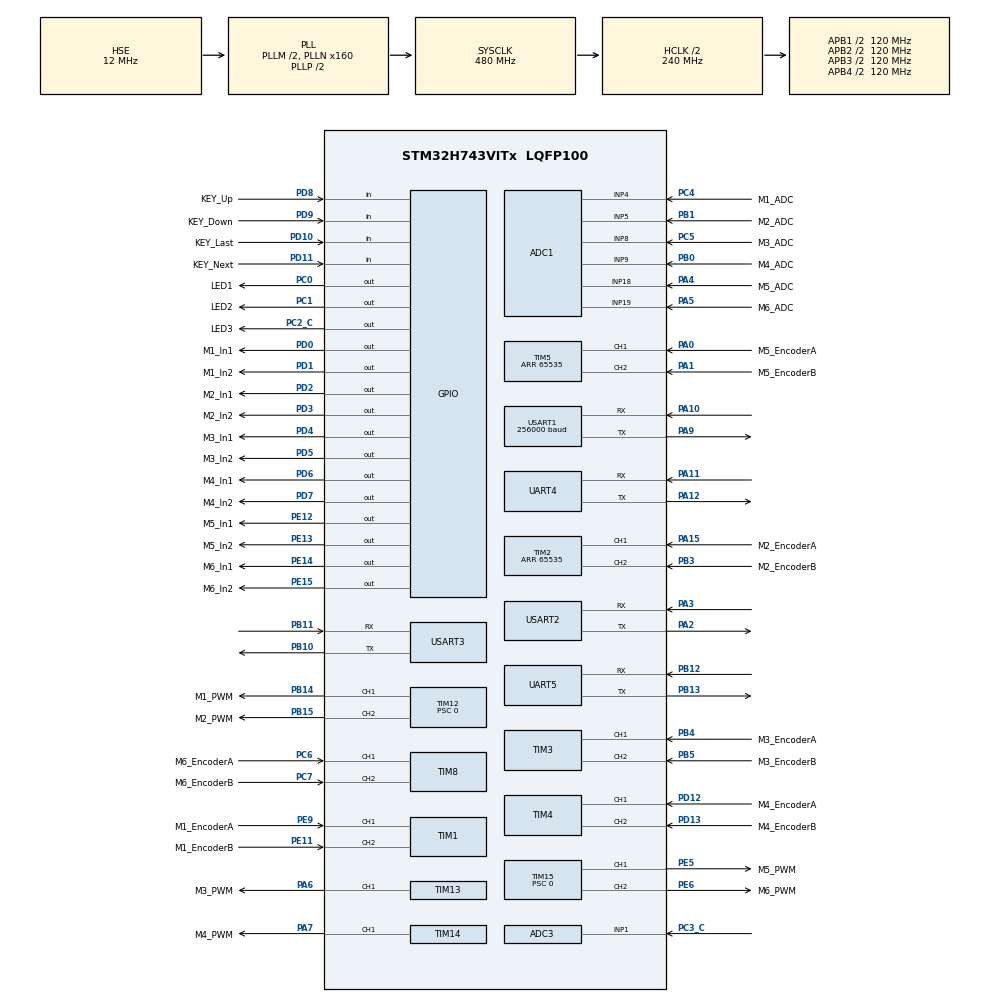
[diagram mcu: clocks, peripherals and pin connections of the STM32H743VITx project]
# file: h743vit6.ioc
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ADC1.Channel-0\#ChannelRegularConversion=ADC_CHANNEL_4
ADC1.Channel-1\#ChannelRegularConversion=ADC_CHANNEL_5
ADC1.Channel-2\#ChannelRegularConversion=ADC_CHANNEL_8
ADC1.Channel-3\#ChannelRegularConversion=ADC_CHANNEL_9
ADC1.Channel-4\#ChannelRegularConversion=ADC_CHANNEL_18
ADC1.Channel-5\#ChannelRegularConversion=ADC_CHANNEL_19
ADC1.ClockPrescaler=ADC_CLOCK_ASYNC_DIV8
ADC1.ContinuousConvMode=ENABLE
ADC1.ConversionDataManagement=ADC_CONVERSIONDATA_DMA_CIRCULAR
ADC1.NbrOfConversion=6
ADC1.NbrOfConversionFlag=1
ADC1.OffsetNumber-0\#ChannelRegularConversion=ADC_OFFSET_NONE
ADC1.OffsetNumber-1\#ChannelRegularConversion=ADC_OFFSET_NONE
ADC1.OffsetNumber-2\#ChannelRegularConversion=ADC_OFFSET_NONE
ADC1.OffsetNumber-3\#ChannelRegularConversion=ADC_OFFSET_NONE
ADC1.OffsetNumber-4\#ChannelRegularConversion=ADC_OFFSET_NONE
ADC1.OffsetNumber-5\#ChannelRegularConversion=ADC_OFFSET_NONE
ADC1.OffsetSignedSaturation-0\#ChannelRegularConversion=DISABLE
ADC1.OffsetSignedSaturation-1\#ChannelRegularConversion=DISABLE
ADC1.OffsetSignedSaturation-2\#ChannelRegularConversion=DISABLE
ADC1.OffsetSignedSaturation-3\#ChannelRegularConversion=DISABLE
ADC1.OffsetSignedSaturation-4\#ChannelRegularConversion=DISABLE
ADC1.OffsetSignedSaturation-5\#ChannelRegularConversion=DISABLE
ADC1.Overrun=ADC_OVR_DATA_OVERWRITTEN
ADC1.OversamplingMode=ENABLE
ADC1.OversamplingStopReset=ADC_REGOVERSAMPLING_RESUMED_MODE
ADC1.Rank-0\#ChannelRegularConversion=1
ADC1.Rank-1\#ChannelRegularConversion=2
ADC1.Rank-2\#ChannelRegularConversion=3
ADC1.Rank-3\#ChannelRegularConversion=4
ADC1.Rank-4\#ChannelRegularConversion=5
ADC1.Rank-5\#ChannelRegularConversion=6
ADC1.Ratio=1024
ADC1.RightBitShift=ADC_RIGHTBITSHIFT_10
ADC1.SamplingTime-0\#ChannelRegularConversion=ADC_SAMPLETIME_16CYCLES_5
ADC1.SamplingTime-1\#ChannelRegularConversion=ADC_SAMPLETIME_16CYCLES_5
ADC1.SamplingTime-2\#ChannelRegularConversion=ADC_SAMPLETIME_16CYCLES_5
ADC1.SamplingTime-3\#ChannelRegularConversion=ADC_SAMPLETIME_16CYCLES_5
ADC1.SamplingTime-4\#ChannelRegularConversion=ADC_SAMPLETIME_16CYCLES_5
ADC1.SamplingTime-5\#ChannelRegularConversion=ADC_SAMPLETIME_16CYCLES_5
ADC1.master=1
ADC3.Channel-0\#ChannelRegularConversion=ADC_CHANNEL_TEMPSENSOR
ADC3.Channel-1\#ChannelRegularConversion=ADC_CHANNEL_1
ADC3.ClockPrescaler=ADC_CLOCK_ASYNC_DIV8
ADC3.ContinuousConvMode=ENABLE
ADC3.ConversionDataManagement=ADC_CONVERSIONDATA_DMA_CIRCULAR
ADC3.LeftBitShift=ADC_LEFTBITSHIFT_NONE
ADC3.NbrOfConversion=2
ADC3.NbrOfConversionFlag=1
ADC3.OffsetNumber-0\#ChannelRegularConversion=ADC_OFFSET_NONE
ADC3.OffsetNumber-1\#ChannelRegularConversion=ADC_OFFSET_NONE
ADC3.OffsetSignedSaturation-0\#ChannelRegularConversion=DISABLE
ADC3.OffsetSignedSaturation-1\#ChannelRegularConversion=DISABLE
ADC3.Overrun=ADC_OVR_DATA_OVERWRITTEN
ADC3.OversamplingMode=ENABLE
ADC3.Rank-0\#ChannelRegularConversion=1
ADC3.Rank-1\#ChannelRegularConversion=2
ADC3.Ratio=1024
ADC3.RightBitShift=ADC_RIGHTBITSHIFT_10
ADC3.SamplingTime-0\#ChannelRegularConversion=ADC_SAMPLETIME_810CYCLES_5
ADC3.SamplingTime-1\#ChannelRegularConversion=ADC_SAMPLETIME_810CYCLES_5
CORTEX_M7.AccessPermission-Cortex_Memory_Protection_Unit_Region0_Settings=MPU_REGION_FULL_ACCESS
CORTEX_M7.BaseAddress-Cortex_Memory_Protection_Unit_Region0_Settings=0x38000000
CORTEX_M7.CPU_DCache=Enabled
CORTEX_M7.CPU_ICache=Enabled
CORTEX_M7.Enable-Cortex_Memory_Protection_Unit_Region0_Settings=MPU_REGION_ENABLE
CORTEX_M7.IsCacheable-Cortex_Memory_Protection_Unit_Region0_Settings=MPU_ACCESS_CACHEABLE
CORTEX_M7.MPU_Control=MPU_PRIVILEGED_DEFAULT
CORTEX_M7.Size-Cortex_Memory_Protection_Unit_Region0_Settings=MPU_REGION_SIZE_64KB
Dma.ADC1.0.Direction=DMA_PERIPH_TO_MEMORY
Dma.ADC1.0.EventEnable=DISABLE
Dma.ADC1.0.FIFOMode=DMA_FIFOMODE_DISABLE
Dma.ADC1.0.Instance=DMA1_Stream1
Dma.ADC1.0.MemDataAlignment=DMA_MDATAALIGN_WORD
Dma.ADC1.0.MemInc=DMA_MINC_ENABLE
Dma.ADC1.0.Mode=DMA_CIRCULAR
Dma.ADC1.0.PeriphDataAlignment=DMA_PDATAALIGN_WORD
Dma.ADC1.0.PeriphInc=DMA_PINC_DISABLE
Dma.ADC1.0.Polarity=HAL_DMAMUX_REQ_GEN_RISING
Dma.ADC1.0.Priority=DMA_PRIORITY_MEDIUM
Dma.ADC1.0.RequestNumber=1
Dma.ADC1.0.SignalID=NONE
Dma.ADC1.0.SyncEnable=DISABLE
Dma.ADC1.0.SyncPolarity=HAL_DMAMUX_SYNC_NO_EVENT
Dma.ADC1.0.SyncRequestNumber=1
Dma.ADC1.0.SyncSignalID=NONE
Dma.ADC3.1.Direction=DMA_PERIPH_TO_MEMORY
Dma.ADC3.1.EventEnable=DISABLE
Dma.ADC3.1.FIFOMode=DMA_FIFOMODE_DISABLE
Dma.ADC3.1.Instance=DMA1_Stream0
Dma.ADC3.1.MemDataAlignment=DMA_MDATAALIGN_WORD
Dma.ADC3.1.MemInc=DMA_MINC_ENABLE
Dma.ADC3.1.Mode=DMA_CIRCULAR
Dma.ADC3.1.PeriphDataAlignment=DMA_PDATAALIGN_WORD
Dma.ADC3.1.PeriphInc=DMA_PINC_DISABLE
Dma.ADC3.1.Polarity=HAL_DMAMUX_REQ_GEN_RISING
Dma.ADC3.1.Priority=DMA_PRIORITY_MEDIUM
Dma.ADC3.1.RequestNumber=1
Dma.ADC3.1.SignalID=NONE
Dma.ADC3.1.SyncEnable=DISABLE
Dma.ADC3.1.SyncPolarity=HAL_DMAMUX_SYNC_NO_EVENT
Dma.ADC3.1.SyncRequestNumber=1
Dma.ADC3.1.SyncSignalID=NONE
Dma.MEMTOMEM.4.Direction=DMA_MEMORY_TO_MEMORY
Dma.MEMTOMEM.4.EventEnable=DISABLE
Dma.MEMTOMEM.4.FIFOMode=DMA_FIFOMODE_ENABLE
Dma.MEMTOMEM.4.FIFOThreshold=DMA_FIFO_THRESHOLD_FULL
Dma.MEMTOMEM.4.Instance=DMA1_Stream4
Dma.MEMTOMEM.4.MemBurst=DMA_MBURST_SINGLE
Dma.MEMTOMEM.4.MemDataAlignment=DMA_MDATAALIGN_BYTE
Dma.MEMTOMEM.4.MemInc=DMA_MINC_ENABLE
Dma.MEMTOMEM.4.Mode=DMA_NORMAL
Dma.MEMTOMEM.4.PeriphBurst=DMA_PBURST_SINGLE
Dma.MEMTOMEM.4.PeriphDataAlignment=DMA_PDATAALIGN_BYTE
Dma.MEMTOMEM.4.PeriphInc=DMA_PINC_ENABLE
Dma.MEMTOMEM.4.Polarity=HAL_DMAMUX_REQ_GEN_RISING
Dma.MEMTOMEM.4.Priority=DMA_PRIORITY_LOW
Dma.MEMTOMEM.4.RequestNumber=1
Dma.MEMTOMEM.4.SignalID=NONE
Dma.MEMTOMEM.4.SyncEnable=DISABLE
Dma.MEMTOMEM.4.SyncPolarity=HAL_DMAMUX_SYNC_NO_EVENT
Dma.MEMTOMEM.4.SyncRequestNumber=1
Dma.MEMTOMEM.4.SyncSignalID=NONE
Dma.Request0=ADC1
Dma.Request1=ADC3
Dma.Request2=USART1_TX
Dma.Request3=UART4_RX
Dma.Request4=MEMTOMEM
Dma.UART4_RX.3.Direction=DMA_PERIPH_TO_MEMORY
Dma.UART4_RX.3.EventEnable=DISABLE
Dma.UART4_RX.3.FIFOMode=DMA_FIFOMODE_DISABLE
Dma.UART4_RX.3.Instance=DMA1_Stream3
Dma.UART4_RX.3.MemDataAlignment=DMA_MDATAALIGN_BYTE
Dma.UART4_RX.3.MemInc=DMA_MINC_ENABLE
Dma.UART4_RX.3.Mode=DMA_NORMAL
Dma.UART4_RX.3.PeriphDataAlignment=DMA_PDATAALIGN_BYTE
Dma.UART4_RX.3.PeriphInc=DMA_PINC_DISABLE
Dma.UART4_RX.3.Polarity=HAL_DMAMUX_REQ_GEN_RISING
Dma.UART4_RX.3.Priority=DMA_PRIORITY_LOW
Dma.UART4_RX.3.RequestNumber=1
Dma.UART4_RX.3.SignalID=NONE
Dma.UART4_RX.3.SyncEnable=DISABLE
Dma.UART4_RX.3.SyncPolarity=HAL_DMAMUX_SYNC_NO_EVENT
Dma.UART4_RX.3.SyncRequestNumber=1
Dma.UART4_RX.3.SyncSignalID=NONE
Dma.USART1_TX.2.Direction=DMA_MEMORY_TO_PERIPH
Dma.USART1_TX.2.EventEnable=DISABLE
Dma.USART1_TX.2.FIFOMode=DMA_FIFOMODE_DISABLE
Dma.USART1_TX.2.Instance=DMA1_Stream2
Dma.USART1_TX.2.MemDataAlignment=DMA_MDATAALIGN_BYTE
Dma.USART1_TX.2.MemInc=DMA_MINC_ENABLE
Dma.USART1_TX.2.Mode=DMA_NORMAL
Dma.USART1_TX.2.PeriphDataAlignment=DMA_PDATAALIGN_BYTE
Dma.USART1_TX.2.PeriphInc=DMA_PINC_DISABLE
Dma.USART1_TX.2.Polarity=HAL_DMAMUX_REQ_GEN_RISING
Dma.USART1_TX.2.Priority=DMA_PRIORITY_HIGH
Dma.USART1_TX.2.RequestNumber=1
Dma.USART1_TX.2.SignalID=NONE
Dma.USART1_TX.2.SyncEnable=DISABLE
Dma.USART1_TX.2.SyncPolarity=HAL_DMAMUX_SYNC_NO_EVENT
Dma.USART1_TX.2.SyncRequestNumber=1
Dma.USART1_TX.2.SyncSignalID=NONE
Mcu.Family=STM32H7
Mcu.Name=STM32H743VITx
Mcu.Package=LQFP100
NVIC.DMA1_Stream0_IRQn=true\:0\:0\:false\:false\:true\:false\:true
NVIC.DMA1_Stream1_IRQn=true\:0\:0\:false\:false\:true\:false\:true
NVIC.DMA1_Stream2_IRQn=true\:0\:0\:false\:false\:true\:false\:true
NVIC.DMA1_Stream3_IRQn=true\:0\:0\:false\:false\:true\:false\:true
NVIC.PriorityGroup=NVIC_PRIORITYGROUP_4
NVIC.TIM6_DAC_IRQn=true\:1\:0\:true\:false\:true\:true\:true
NVIC.USART1_IRQn=true\:2\:0\:true\:false\:true\:true\:true
NVIC.USART2_IRQn=true\:2\:0\:true\:false\:true\:true\:true
NVIC.USART3_IRQn=true\:2\:0\:true\:false\:true\:true\:true
PA0.GPIO_Label=M5_EncoderA
PA0.Signal=S_TIM5_CH1
PA1.GPIO_Label=M5_EncoderB
PA1.Signal=S_TIM5_CH2
PA10.Mode=Asynchronous
PA10.Signal=USART1_RX
PA11.Mode=Asynchronous
PA11.Signal=UART4_RX
PA12.Mode=Asynchronous
PA12.Signal=UART4_TX
PA15\ (JTDI).GPIO_Label=M2_EncoderA
PA15\ (JTDI).Signal=S_TIM2_CH1_ETR
PA2.Mode=Asynchronous
PA2.PinAttribute=Free
PA2.Signal=USART2_TX
PA3.Mode=Asynchronous
PA3.Signal=USART2_RX
PA4.GPIO_Label=M5_ADC
PA4.Signal=ADCx_INP18
PA5.GPIO_Label=M6_ADC
PA5.Signal=ADCx_INP19
PA6.GPIO_Label=M3_PWM
PA6.Signal=S_TIM13_CH1
PA7.GPIO_Label=M4_PWM
PA7.Signal=S_TIM14_CH1
PA9.Mode=Asynchronous
PA9.Signal=USART1_TX
PB0.GPIO_Label=M4_ADC
PB0.Signal=ADCx_INP9
PB1.GPIO_Label=M2_ADC
PB1.Signal=ADCx_INP5
PB10.Mode=Asynchronous
PB10.Signal=USART3_TX
PB11.Mode=Asynchronous
PB11.Signal=USART3_RX
PB12.Mode=Asynchronous
PB12.Signal=UART5_RX
PB13.Mode=Asynchronous
PB13.Signal=UART5_TX
PB14.GPIO_Label=M1_PWM
PB14.Signal=S_TIM12_CH1
PB15.GPIO_Label=M2_PWM
PB15.Signal=S_TIM12_CH2
PB3\ (JTDO/TRACESWO).GPIO_Label=M2_EncoderB
PB3\ (JTDO/TRACESWO).Signal=S_TIM2_CH2
PB4\ (NJTRST).GPIO_Label=M3_EncoderA
PB4\ (NJTRST).Signal=S_TIM3_CH1
PB5.GPIO_Label=M3_EncoderB
PB5.Signal=S_TIM3_CH2
PC0.GPIO_Label=LED1
PC0.Signal=GPIO_Output
PC1.GPIO_Label=LED2
PC1.Signal=GPIO_Output
PC14-OSC32_IN\ (OSC32_IN).Mode=LSE-External-Oscillator
PC14-OSC32_IN\ (OSC32_IN).Signal=RCC_OSC32_IN
PC15-OSC32_OUT\ (OSC32_OUT).Mode=LSE-External-Oscillator
PC15-OSC32_OUT\ (OSC32_OUT).Signal=RCC_OSC32_OUT
PC2_C.GPIO_Label=LED3
PC2_C.Signal=GPIO_Output
PC3_C.Mode=IN1-Single-Ended
PC3_C.Signal=ADC3_INP1
PC4.GPIO_Label=M1_ADC
PC4.Signal=ADCx_INP4
PC5.GPIO_Label=M3_ADC
PC5.Signal=ADCx_INP8
PC6.GPIO_Label=M6_EncoderA
PC6.Signal=S_TIM8_CH1
PC7.GPIO_Label=M6_EncoderB
PC7.Signal=S_TIM8_CH2
PD0.GPIO_Label=M1_In1
PD0.Signal=GPIO_Output
PD1.GPIO_Label=M1_In2
PD1.Signal=GPIO_Output
PD10.GPIO_Label=KEY_Last
PD10.GPIO_PuPd=GPIO_PULLDOWN
PD10.Signal=GPIO_Input
PD11.GPIO_Label=KEY_Next
PD11.GPIO_PuPd=GPIO_PULLDOWN
PD11.Signal=GPIO_Input
PD12.GPIO_Label=M4_EncoderA
PD12.Signal=S_TIM4_CH1
PD13.GPIO_Label=M4_EncoderB
PD13.Signal=S_TIM4_CH2
PD2.GPIO_Label=M2_In1
PD2.Signal=GPIO_Output
PD3.GPIO_Label=M2_In2
PD3.Signal=GPIO_Output
PD4.GPIO_Label=M3_In1
PD4.Signal=GPIO_Output
PD5.GPIO_Label=M3_In2
PD5.Signal=GPIO_Output
PD6.GPIO_Label=M4_In1
PD6.Signal=GPIO_Output
PD7.GPIO_Label=M4_In2
PD7.Signal=GPIO_Output
PD8.GPIO_Label=KEY_Up
PD8.GPIO_PuPd=GPIO_PULLDOWN
PD8.Signal=GPIO_Input
PD9.GPIO_Label=KEY_Down
PD9.GPIO_PuPd=GPIO_PULLDOWN
PD9.Signal=GPIO_Input
PE11.GPIO_Label=M1_EncoderB
PE11.PinAttribute=Free
PE11.Signal=S_TIM1_CH2
PE12.GPIO_Label=M5_In1
PE12.PinAttribute=Free
PE12.Signal=GPIO_Output
PE13.GPIO_Label=M5_In2
PE13.PinAttribute=Free
PE13.Signal=GPIO_Output
PE14.GPIO_Label=M6_In1
PE14.Signal=GPIO_Output
PE15.GPIO_Label=M6_In2
PE15.Signal=GPIO_Output
PE5.GPIO_Label=M5_PWM
PE5.Signal=S_TIM15_CH1
PE6.GPIO_Label=M6_PWM
PE6.Signal=S_TIM15_CH2
PE9.GPIO_Label=M1_EncoderA
PE9.PinAttribute=Free
PE9.Signal=S_TIM1_CH1
PH0-OSC_IN\ (PH0).Mode=HSE-External-Oscillator
PH0-OSC_IN\ (PH0).Signal=RCC_OSC_IN
PH1-OSC_OUT\ (PH1).Mode=HSE-External-Oscillator
PH1-OSC_OUT\ (PH1).Signal=RCC_OSC_OUT
ProjectManager.HeapSize=0x200
ProjectManager.StackSize=0x400
ProjectManager.TargetToolchain=MDK-ARM V5.32
RCC.ADCFreq_Value=72000000
RCC.APB1Freq_Value=120000000
RCC.APB2Freq_Value=120000000
RCC.APB3Freq_Value=120000000
RCC.APB4Freq_Value=120000000
RCC.CortexFreq_Value=480000000
RCC.D1PPRE=RCC_APB3_DIV2
RCC.D2PPRE1=RCC_APB1_DIV2
RCC.D2PPRE2=RCC_APB2_DIV2
RCC.D3PPRE=RCC_APB4_DIV2
RCC.DIVM1=2
RCC.DIVM2=1
RCC.DIVN1=160
RCC.DIVN2=24
RCC.DIVP2=4
RCC.EnbaleCSS=false
RCC.HCLKFreq_Value=240000000
RCC.HPRE=RCC_HCLK_DIV2
RCC.HSE_VALUE=12000000
RCC.PLL1_VCI_Range-AdvancedSettings=RCC_PLL1VCIRANGE_0
RCC.PLL1_VCO_SEL-AdvancedSettings=RCC_PLL1VCOMEDIUM
RCC.PLL2FRACN=0
RCC.PLL2_VCI_Range-AdvancedSettings=RCC_PLL2VCIRANGE_0
RCC.PLL2_VCO_SEL-AdvancedSettings=RCC_PLL2VCOMEDIUM
RCC.PLL3FRACN=0
RCC.PLL3_VCI_Range-AdvancedSettings=RCC_PLL3VCIRANGE_0
RCC.PLL3_VCO_SEL-AdvancedSettings=RCC_PLL3VCOMEDIUM
RCC.PLLSourceVirtual=RCC_PLLSOURCE_HSE
RCC.SYSCLKFreq_VALUE=480000000
RCC.SYSCLKSource=RCC_SYSCLKSOURCE_PLLCLK
RCC.USBFreq_Value=480000000
SH.ADCx_INP18.0=ADC1_INP18,IN18-Single-Ended
SH.ADCx_INP19.0=ADC1_INP19,IN19-Single-Ended
SH.ADCx_INP4.0=ADC1_INP4,IN4-Single-Ended
SH.ADCx_INP5.0=ADC1_INP5,IN5-Single-Ended
SH.ADCx_INP8.0=ADC1_INP8,IN8-Single-Ended
SH.ADCx_INP9.0=ADC1_INP9,IN9-Single-Ended
SH.S_TIM12_CH1.0=TIM12_CH1,PWM Generation1 CH1
SH.S_TIM12_CH2.0=TIM12_CH2,PWM Generation2 CH2
SH.S_TIM13_CH1.0=TIM13_CH1,PWM Generation1 CH1
SH.S_TIM14_CH1.0=TIM14_CH1,PWM Generation1 CH1
SH.S_TIM15_CH1.0=TIM15_CH1,PWM Generation1 CH1
SH.S_TIM15_CH2.0=TIM15_CH2,PWM Generation2 CH2
SH.S_TIM1_CH1.0=TIM1_CH1,Encoder_Interface
SH.S_TIM1_CH2.0=TIM1_CH2,Encoder_Interface
SH.S_TIM2_CH1_ETR.0=TIM2_CH1,Encoder_Interface
SH.S_TIM2_CH2.0=TIM2_CH2,Encoder_Interface
SH.S_TIM3_CH1.0=TIM3_CH1,Encoder_Interface
SH.S_TIM3_CH2.0=TIM3_CH2,Encoder_Interface
SH.S_TIM4_CH1.0=TIM4_CH1,Encoder_Interface
SH.S_TIM4_CH2.0=TIM4_CH2,Encoder_Interface
SH.S_TIM5_CH1.0=TIM5_CH1,Encoder_Interface
SH.S_TIM5_CH2.0=TIM5_CH2,Encoder_Interface
SH.S_TIM8_CH1.0=TIM8_CH1,Encoder_Interface
SH.S_TIM8_CH2.0=TIM8_CH2,Encoder_Interface
TIM1.AutoReloadPreload=TIM_AUTORELOAD_PRELOAD_ENABLE
TIM1.EncoderMode=TIM_ENCODERMODE_TI12
TIM1.IC1Filter=5
TIM1.IC2Filter=5
TIM12.AutoReloadPreload=TIM_AUTORELOAD_PRELOAD_ENABLE
TIM12.Channel-PWM\ Generation1\ CH1=TIM_CHANNEL_1
TIM12.Channel-PWM\ Generation2\ CH2=TIM_CHANNEL_2
TIM12.Period=12000
TIM12.Prescaler=0
TIM13.AutoReloadPreload=TIM_AUTORELOAD_PRELOAD_ENABLE
TIM13.Channel=TIM_CHANNEL_1
TIM13.Period=12000
TIM13.Prescaler=0
TIM14.AutoReloadPreload=TIM_AUTORELOAD_PRELOAD_ENABLE
TIM14.Channel=TIM_CHANNEL_1
TIM14.Period=12000
TIM14.Prescaler=0
TIM15.AutoReloadPreload=TIM_AUTORELOAD_PRELOAD_ENABLE
TIM15.Channel-PWM\ Generation1\ CH1=TIM_CHANNEL_1
TIM15.Channel-PWM\ Generation2\ CH2=TIM_CHANNEL_2
TIM15.OCIdleState_1=TIM_OCIDLESTATE_SET
TIM15.OCIdleState_2=TIM_OCIDLESTATE_SET
TIM15.Period=12000
TIM15.Prescaler=0
TIM2.AutoReloadPreload=TIM_AUTORELOAD_PRELOAD_ENABLE
TIM2.EncoderMode=TIM_ENCODERMODE_TI12
TIM2.IC1Filter=10
TIM2.IC2Filter=10
TIM2.Period=65535
TIM3.AutoReloadPreload=TIM_AUTORELOAD_PRELOAD_ENABLE
TIM3.EncoderMode=TIM_ENCODERMODE_TI12
TIM3.IC1Filter=10
TIM3.IC2Filter=10
TIM4.AutoReloadPreload=TIM_AUTORELOAD_PRELOAD_ENABLE
TIM4.EncoderMode=TIM_ENCODERMODE_TI12
TIM4.IC1Filter=10
TIM4.IC2Filter=10
TIM5.AutoReloadPreload=TIM_AUTORELOAD_PRELOAD_ENABLE
TIM5.EncoderMode=TIM_ENCODERMODE_TI12
TIM5.IC1Filter=10
TIM5.IC2Filter=10
TIM5.Period=65535
TIM6.AutoReloadPreload=TIM_AUTORELOAD_PRELOAD_ENABLE
TIM6.Period=1000-1
TIM6.Prescaler=24-1
TIM8.AutoReloadPreload=TIM_AUTORELOAD_PRELOAD_ENABLE
TIM8.EncoderMode=TIM_ENCODERMODE_TI12
TIM8.IC1Filter=10
TIM8.IC2Filter=10
USART1.BaudRate=256000
USART1.VirtualMode-Asynchronous=VM_ASYNC
USART2.VirtualMode-Asynchronous=VM_ASYNC
USART3.OverrunDisableParam=ADVFEATURE_OVERRUN_DISABLE
USART3.VirtualMode-Asynchronous=VM_ASYNC
VP_ADC3_TempSens_Input.Mode=IN-TempSens
VP_TIM12_VS_ClockSourceINT.Mode=Internal
VP_TIM13_VS_ClockSourceINT.Mode=Enable_Timer
VP_TIM14_VS_ClockSourceINT.Mode=Enable_Timer
VP_TIM15_VS_ClockSourceINT.Mode=Internal
VP_TIM6_VS_ClockSourceINT.Mode=Enable_Timer
board=custom

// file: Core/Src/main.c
/* USER CODE BEGIN Header */
/**
  ******************************************************************************
  * @file           : main.c
  * @brief          : Main program body
  ******************************************************************************
  * @attention
  *
  * <h2><center>&copy; Copyright (c) 2021 STMicroelectronics.
  * All rights reserved.</center></h2>
  *
  * This software component is licensed by ST under BSD 3-Clause license,
  * the "License"; You may not use this file except in compliance with the
  * License. You may obtain a copy of the License at:
  *                        opensource.org/licenses/BSD-3-Clause
  *
  ******************************************************************************
  */
/* USER CODE END Header */
#include "main.h"
#include "adc.h"
#include "dma.h"
#include "tim.h"
#include "usart.h"
#include "gpio.h"

/* USER CODE BEGIN Includes */
#include "stdio.h"
#include "motor.h"
#include "Dataex.h"
#include "control.h"
#include  "math.h"
#include "key.h"
#include "Ctrl_schedule.h"
#include "FC_PID.h"
#include "Inv_Kine.h"
#include "target.h"
#include "qiankui.h"

/* USER CODE END Includes */

/* USER CODE BEGIN PTD */

/*内存0x38000000上的变量，给DMA搬运数据使用 */
ALIGN_32BYTES(__attribute__((section(".RAM_D3"))) uint32_t ADC3_Data[2]);       /*三个通道的数据*/
ALIGN_32BYTES(__attribute__((section(".RAM_D3"))) uint32_t ADC1_Data[6]);       /*三个通道的数据*/
ALIGN_32BYTES(__attribute__((section(".RAM_D3"))) uint8_t data_to_send[255]);
/* DTCNM内存的全局变量 */

float Temp = 0;
float Vrefint = 0;
float adc3In1 = 0;
float Curent1 = 0;
float Curent2 = 0;
float Curent3 = 0;
float Curent4 = 0;
float Curent5 = 0;
float Curent6 = 0;

/* USER CODE END PTD */

/* USER CODE BEGIN PD */
#define PI 3.14159
/* USER CODE END PD */

/* USER CODE BEGIN PM */

float turn_CPU_Temperature(uint32_t Temp_Value);

/* USER CODE END PM */

/* USER CODE BEGIN PV */
uint8_t Position_zeroed_Flag = 0;
uint8_t Key_contrl_flag = 0;
uint8_t target_followed_flag = 0;
uint8_t receive_buff;
uint8_t receive_buff_JY901;
/* USER CODE END PV */

void SystemClock_Config(void);
void PeriphCommonClock_Config(void);
static void MPU_Config(void);

/* USER CODE BEGIN 0 */

/*   九轴传感器调试iic   */
//用串口2给JY模块发送指令
void sendcmd(char cmd[])
{
    char i;
    for(i = 0; i < 5; i++)
        HAL_UART_Transmit(&huart3, (uint8_t *)cmd + i, 1, 10);
}
/*   九轴传感器调试iic   */

/* USER CODE END 0 */

int main(void)
{

    /* MPU Configuration--------------------------------------------------------*/
    MPU_Config();

    /* Enable I-Cache---------------------------------------------------------*/
    SCB_EnableICache();

    /* Enable D-Cache---------------------------------------------------------*/
    SCB_EnableDCache();

    /* MCU Configuration--------------------------------------------------------*/

    /* Reset of all peripherals, Initializes the Flash interface and the Systick. */
    HAL_Init();

    /* Configure the system clock */
    SystemClock_Config();

    /* Configure the peripherals common clocks */
    PeriphCommonClock_Config();

    /* Initialize all configured peripherals */
    MX_GPIO_Init();
    MX_TIM1_Init();
    MX_TIM2_Init();
    MX_TIM3_Init();
    MX_TIM4_Init();
    MX_TIM5_Init();
    MX_TIM6_Init();
    MX_TIM8_Init();
    MX_TIM12_Init();
    MX_TIM13_Init();
    MX_TIM14_Init();
    MX_TIM15_Init();
    MX_DMA_Init();
    MX_ADC1_Init();
    MX_UART4_Init();
    MX_UART5_Init();
    MX_USART1_UART_Init();
    MX_USART3_UART_Init();
    MX_ADC3_Init();
    MX_USART2_UART_Init();
    /* USER CODE BEGIN 2 */
    //////////////////
    //MX_ADC1_Init();        //要放在MX_DMA_Init();后面，否则DMA不能用！！！
    //MX_USART1_UART_Init(); //要放在MX_DMA_Init();后面，否则DMA不能用！！！
    //MX_UART4_Init();
    /************************外设配置****************************************/

    Position_zeroed_Flag = 0;       //调试，手动校准位置标志
    HAL_TIM_Base_Start_IT(&htim6); //中断时钟使能提供整体时钟

    HAL_TIM_PWM_Start(&htim12, TIM_CHANNEL_1); //开启tim12通道1   PB14输出pwm
    HAL_TIM_PWM_Start(&htim12, TIM_CHANNEL_2); //开启tim12通道2   PB15输出pwm
    HAL_TIM_PWM_Start(&htim13, TIM_CHANNEL_1); //开启tim13通道1   PA6输出pwm
    HAL_TIM_PWM_Start(&htim14, TIM_CHANNEL_1); //开启tim14通道1   PA7输出pwm
    HAL_TIM_PWM_Start(&htim15, TIM_CHANNEL_1); //开启tim15通道1   PE5输出pwm
    HAL_TIM_PWM_Start(&htim15, TIM_CHANNEL_2); //开启tim15通道2   PE6输出pwm

    HAL_TIM_Encoder_Start(&htim1, TIM_CHANNEL_ALL);   //使能正交编码器 PE9 PE11
    HAL_TIM_Encoder_Start(&htim2, TIM_CHANNEL_ALL);   //使能正交编码器 PA15 PB3
    HAL_TIM_Encoder_Start(&htim3, TIM_CHANNEL_ALL);   //使能正交编码器 PB4 PB5
    HAL_TIM_Encoder_Start(&htim4, TIM_CHANNEL_ALL);   //使能正交编码器 PD12 PD13
    HAL_TIM_Encoder_Start(&htim5, TIM_CHANNEL_ALL);   //使能正交编码器 PA0 PA1
    HAL_TIM_Encoder_Start(&htim8, TIM_CHANNEL_ALL);   //使能正交编码器 PC6 PC7

    /////////****串口中断配置*******///////
    HAL_UART_Receive_IT(&huart1, &receive_buff, 1);
    HAL_UART_Receive_IT(&huart3, (uint8_t *)&receive_buff_JY901, 1 );

    /////////****ADC+DMA配置*******///////
    HAL_ADC_Start_DMA(&hadc3, (uint32_t *)ADC3_Data, 2); /* 启动DMA搬运数据 */
    HAL_ADC_Start_DMA(&hadc1, (uint32_t *)ADC1_Data, 6); /* 启动DMA搬运数据 */

    /************************初始化****************************************/

    Motor_Init();    //电机角度参数初始化
    Control_Init();  //PID参数初始化

    /**********模糊pid初始化***********/
    fuzzy_controler_Init(&FC_M1);
    fuzzy_controler_Init(&FC_M3);
    fuzzy_controler_Init(&FC_M4);
    fuzzy_controler_Init(&FC_M6);

    /* USER CODE END 2 */

    /* Infinite loop */
    /* USER CODE BEGIN WHILE */

    /************************程序运行参数设置****************************************/

    ///***逆运动学角度解算******/////
    motor_Angle_d_Caculate(3, &Left_InvKine, 0);   //最后一个参数0~4代表4种轨迹曲线
    motor_Angle_d_Caculate(3, &Right_InvKine, 0);

    //前馈补偿计算
    forward_Value(Left_InvKine.angle_M1_d, Left_InvKine.angle_M1_dv, 2000);
    forward_Value(Left_InvKine.angle_M2_d, Left_InvKine.angle_M2_dv, 3000);
    forward_Value(Left_InvKine.angle_M3_d, Left_InvKine.angle_M3_dv, 2000);
    forward_Value(Right_InvKine.angle_M1_d, Right_InvKine.angle_M1_dv, 2000);
    forward_Value(Right_InvKine.angle_M2_d, Right_InvKine.angle_M2_dv, 3000);
    forward_Value(Right_InvKine.angle_M3_d, Right_InvKine.angle_M3_dv, 2000);

    //前馈补偿数据发送到上位机
    uint16_t transfer_cnt = 0;
    for(transfer_cnt = 0; transfer_cnt < 3000; transfer_cnt++)
    {
        //printf("data:%d\n",(int)(Right_InvKine.angle_M1_dv[transfer_cnt]));
    }
    //PID参数设置
    Pid_Set(&Motor1pid, 500, 0, 0);
    Pid_Set(&Motor2pid, 500, 0, 0);
    Pid_Set(&Motor3pid, 500, 0, 0);
    Pid_Set(&Motor4pid, 500, 0, 0.001);
    Pid_Set(&Motor5pid, 500, 0, 5);
    Pid_Set(&Motor6pid, 500, 0, 0.1);
    //Qiankui_init(&QK_M1);
		uint8_t shebei [100] = {0xAB,0xFD,0xFE ,0xE3 ,0x13 ,0x00 ,0x50 ,0x0C,0x00 ,0x22,0x00 ,0x77,0x00 ,0x20,0x03 ,0x53,0x69,0x6D,0x44,0x65,0x76,0x56,0x31,0x2E,0x30 ,0xE1 ,0xAF};

    while(1)
    {

        HAL_GPIO_WritePin( LED3_GPIO_Port, LED3_Pin, GPIO_PIN_RESET);
        HAL_Delay(5);
        HAL_GPIO_WritePin( LED3_GPIO_Port, LED3_Pin, GPIO_PIN_SET);

        motor_Angle_d_Caculate(3, &Right_InvKine, 0);
//        while(1)
//        {

//            static uint16_t		folwd_cnt = 0;
//            uint8_t _cnt = 0;
//            float f_temp;
//            uint8_t sum = 0;
//            uint8_t i;

//            data_to_send[_cnt++] = 0xAA;
//            data_to_send[_cnt++] = 0xAA;
//            data_to_send[_cnt++] = 0xF1;  //功能字，F1为用户数据
//            data_to_send[_cnt++] = 0;

//            //***发送电机角度***//
//            f_temp = Right_InvKine.angle_M1_d[(int)(folwd_cnt++ / 3)];  //发送电机角度
//            data_to_send[_cnt++] = BYTE3(f_temp);
//            data_to_send[_cnt++] = BYTE2(f_temp);
//            data_to_send[_cnt++] = BYTE1(f_temp);
//            data_to_send[_cnt++] = BYTE0(f_temp);

//            data_to_send[3] = _cnt - 4;

//            for(i = 0; i < _cnt; i++)
//                sum += data_to_send[i];
//            data_to_send[_cnt++] = sum;
//            HAL_UART_Transmit_DMA(&huart1, (uint8_t *)data_to_send, _cnt);
//            HAL_Delay(100);
//            if(folwd_cnt > 2999)folwd_cnt = 0;
//        }

        //Send_Data2PC();

        /* USER CODE END WHILE */

        /* USER CODE BEGIN 3 */

        while(Position_zeroed_Flag == 0)
        {
            //			Position_zeroed_Flag = Key_Scan();
            //电机动作函数
            Motor_Adusted_from_PC();
					  HAL_UART_Transmit_DMA(&huart1, (uint8_t *)shebei, 30);

            //            float t = t + 0.0025f;
            //            float ss = sin(2 * 3.14159 * t);
            //            float sita = cos(2 * 3.14159 * t);
            //            if(Qiankui_ParaUpdate(&QK_M1, ss, sita))
            //                QK_M1.U_k = Qiankui_Caculate(&QK_M1);
            //            printf("QK_M1.U_k is %d\t\n", (int)(QK_M1.U_k * 1000));
            HAL_Delay(5);

        }
						printf("QK_M4.U_k:\n\n");
        if(Position_zeroed_Flag)
        {
            if(UI.Curve_Generation_Flag)
            {
                motor_Angle_d_Caculate(3, &Left_InvKine,  UI.Curve_Type);   //最后一个参数0~4代表4种轨迹曲线
                motor_Angle_d_Caculate(3, &Right_InvKine, UI.Curve_Type);
                UI.Curve_Generation_Flag = 0;
            }
            HAL_Delay(20);
            HAL_GPIO_TogglePin(LED1_GPIO_Port, LED1_Pin);
            HAL_Delay(200);
            HAL_GPIO_TogglePin(LED1_GPIO_Port, LED1_Pin);
            HAL_Delay(200);
            HAL_GPIO_TogglePin(LED2_GPIO_Port, LED2_Pin);
            HAL_Delay(200);
            HAL_GPIO_TogglePin(LED2_GPIO_Port, LED2_Pin);
            HAL_Delay(200);
            HAL_GPIO_TogglePin(LED3_GPIO_Port, LED3_Pin);
            HAL_Delay(1000);
            HAL_GPIO_TogglePin(LED3_GPIO_Port, LED3_Pin);
            HAL_Delay(200);
        }
    }
    /****测试所有任务耗费时间****
    //SysTick->VAL = 0;
    uint32_t start_time = SysTick->VAL;
    Current_updata();
    Encoder_value_updata();	  //编码器信号
    if(0){
    	//读取上位机状态量
    }
    else{
    	//扫描按键切换模式
    	target_followed_flag = Key_switch(target_followed_flag);
    	//Control_Inc_updata();          //控制系统输入输出更新
    	Control_FC_update(1);
    	HAL_GPIO_WritePin( LED3_GPIO_Port, LED3_Pin,GPIO_PIN_RESET);
    	}
    Send_Data2NiMing();	       //发送数据到匿名（数据采集储存）
    uint32_t end_time = SysTick->VAL;
    printf("开始的时间为：%d\n",(int32_t)(start_time));
    printf("结束的时间为：%d\n",(int32_t)(end_time));
    printf("程序执行需要的时间为：%d\n",(int32_t)(end_time-start_time));
    ****测试所有任务耗费时间****/

    /* USER CODE END 3 */
}

void SystemClock_Config(void)
{
    RCC_OscInitTypeDef RCC_OscInitStruct = {0};
    RCC_ClkInitTypeDef RCC_ClkInitStruct = {0};

    /** Supply configuration update enable
    */
    HAL_PWREx_ConfigSupply(PWR_LDO_SUPPLY);
    /** Configure the main internal regulator output voltage
    */
    __HAL_PWR_VOLTAGESCALING_CONFIG(PWR_REGULATOR_VOLTAGE_SCALE0);

    while(!__HAL_PWR_GET_FLAG(PWR_FLAG_VOSRDY)) {}
    /** Macro to configure the PLL clock source
    */
    __HAL_RCC_PLL_PLLSOURCE_CONFIG(RCC_PLLSOURCE_HSE);
    /** Initializes the RCC Oscillators according to the specified parameters
    * in the RCC_OscInitTypeDef structure.
    */
    RCC_OscInitStruct.OscillatorType = RCC_OSCILLATORTYPE_HSE;
    RCC_OscInitStruct.HSEState = RCC_HSE_ON;
    RCC_OscInitStruct.PLL.PLLState = RCC_PLL_ON;
    RCC_OscInitStruct.PLL.PLLSource = RCC_PLLSOURCE_HSE;
    RCC_OscInitStruct.PLL.PLLM = 2;
    RCC_OscInitStruct.PLL.PLLN = 160;
    RCC_OscInitStruct.PLL.PLLP = 2;
    RCC_OscInitStruct.PLL.PLLQ = 2;
    RCC_OscInitStruct.PLL.PLLR = 2;
    RCC_OscInitStruct.PLL.PLLRGE = RCC_PLL1VCIRANGE_2;
    RCC_OscInitStruct.PLL.PLLVCOSEL = RCC_PLL1VCOWIDE;
    RCC_OscInitStruct.PLL.PLLFRACN = 0;
    if (HAL_RCC_OscConfig(&RCC_OscInitStruct) != HAL_OK)
    {
        Error_Handler();
    }
    /** Initializes the CPU, AHB and APB buses clocks
    */
    RCC_ClkInitStruct.ClockType = RCC_CLOCKTYPE_HCLK | RCC_CLOCKTYPE_SYSCLK
                                  | RCC_CLOCKTYPE_PCLK1 | RCC_CLOCKTYPE_PCLK2
                                  | RCC_CLOCKTYPE_D3PCLK1 | RCC_CLOCKTYPE_D1PCLK1;
    RCC_ClkInitStruct.SYSCLKSource = RCC_SYSCLKSOURCE_PLLCLK;
    RCC_ClkInitStruct.SYSCLKDivider = RCC_SYSCLK_DIV1;
    RCC_ClkInitStruct.AHBCLKDivider = RCC_HCLK_DIV2;
    RCC_ClkInitStruct.APB3CLKDivider = RCC_APB3_DIV2;
    RCC_ClkInitStruct.APB1CLKDivider = RCC_APB1_DIV2;
    RCC_ClkInitStruct.APB2CLKDivider = RCC_APB2_DIV2;
    RCC_ClkInitStruct.APB4CLKDivider = RCC_APB4_DIV2;

    if (HAL_RCC_ClockConfig(&RCC_ClkInitStruct, FLASH_LATENCY_4) != HAL_OK)
    {
        Error_Handler();
    }
}

void PeriphCommonClock_Config(void)
{
    RCC_PeriphCLKInitTypeDef PeriphClkInitStruct = {0};

    /** Initializes the peripherals clock
    */
    PeriphClkInitStruct.PeriphClockSelection = RCC_PERIPHCLK_ADC;
    PeriphClkInitStruct.PLL2.PLL2M = 1;
    PeriphClkInitStruct.PLL2.PLL2N = 24;
    PeriphClkInitStruct.PLL2.PLL2P = 4;
    PeriphClkInitStruct.PLL2.PLL2Q = 2;
    PeriphClkInitStruct.PLL2.PLL2R = 2;
    PeriphClkInitStruct.PLL2.PLL2RGE = RCC_PLL2VCIRANGE_3;
    PeriphClkInitStruct.PLL2.PLL2VCOSEL = RCC_PLL2VCOMEDIUM;
    PeriphClkInitStruct.PLL2.PLL2FRACN = 0;
    PeriphClkInitStruct.AdcClockSelection = RCC_ADCCLKSOURCE_PLL2;
    if (HAL_RCCEx_PeriphCLKConfig(&PeriphClkInitStruct) != HAL_OK)
    {
        Error_Handler();
    }
}

/* USER CODE BEGIN 4 */

float turn_CPU_Temperature(uint32_t Temp_Value)
{

    uint16_t TS_CAL1;
    uint16_t TS_CAL2;
    float Temp_oC = 0;

    /* 根据参考手册给的公式计算温度值 */
    TS_CAL1 = *(__IO uint16_t *)(0x1FF1E820);
    TS_CAL2 = *(__IO uint16_t *)(0x1FF1E840);

    Temp_oC = ((110.0f - 30.0f) / (TS_CAL2 - TS_CAL1)) * (Temp_Value - TS_CAL1) + 30.0f;

    return Temp_oC;
}

/****************************逆运动学调试 ****************************
SysTick->VAL = 0;
int start_time=SysTick->VAL;
//测试计算需要的时间  int end_time = SysTick->VAL;
int i=0;
for(i=0;i<100;i++)
{
Inv_Kine_Caculator(-3.14+0.02*i,-0.52+0.01*i,-0.52+0.01*i,&Left_InvKine);
printf("%d\n",(int)(Left_InvKine.theta1*1000));
printf("%d\n",(int)(Left_InvKine.theta2*1000));
printf("%d\n",(int)(Left_InvKine.theta3*1000));
}
int end_time = SysTick->VAL;
printf("%d\n",end_time);

***************************** 逆运动学调试 **************************/

/**************************** 测试逆运动学生成的轨迹对否 *************************

uint8_t falg1234;
for(falg1234=0;falg1234<4;falg1234++)
{
	int i;
	motor_Angle_d_Caculate(3, &Left_InvKine, falg1234);
	motor_Angle_d_Caculate(3, &Right_InvKine, falg1234);
	for(i=0;i<3000;i++)
	{
		inv_To_PC();
	}
}
**************************** 测试逆运动学生成的轨迹对否 *************************/

/* USER CODE END 4 */

/* MPU Configuration */

void MPU_Config(void)
{
    MPU_Region_InitTypeDef MPU_InitStruct = {0};

    /* Disables the MPU */
    HAL_MPU_Disable();
    /** Initializes and configures the Region and the memory to be protected
    */
    MPU_InitStruct.Enable = MPU_REGION_ENABLE;
    MPU_InitStruct.Number = MPU_REGION_NUMBER0;
    MPU_InitStruct.BaseAddress = 0x38000000;
    MPU_InitStruct.Size = MPU_REGION_SIZE_64KB;
    MPU_InitStruct.SubRegionDisable = 0x0;
    MPU_InitStruct.TypeExtField = MPU_TEX_LEVEL0;
    MPU_InitStruct.AccessPermission = MPU_REGION_FULL_ACCESS;
    MPU_InitStruct.DisableExec = MPU_INSTRUCTION_ACCESS_ENABLE;
    MPU_InitStruct.IsShareable = MPU_ACCESS_NOT_SHAREABLE;
    MPU_InitStruct.IsCacheable = MPU_ACCESS_CACHEABLE;
    MPU_InitStruct.IsBufferable = MPU_ACCESS_NOT_BUFFERABLE;

    HAL_MPU_ConfigRegion(&MPU_InitStruct);
    /* Enables the MPU */
    HAL_MPU_Enable(MPU_PRIVILEGED_DEFAULT);

}

void Error_Handler(void)
{
    __disable_irq();
    while (1)
    {
    }
}
